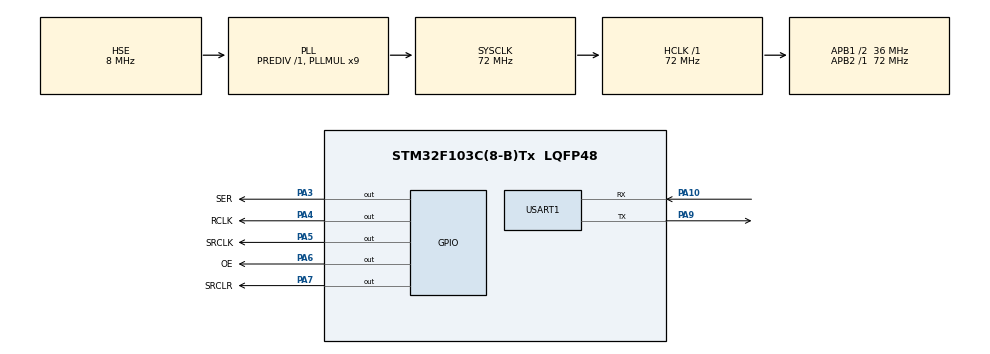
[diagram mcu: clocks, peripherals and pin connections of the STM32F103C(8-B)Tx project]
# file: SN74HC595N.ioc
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Mcu.Family=STM32F1
Mcu.Name=STM32F103C(8-B)Tx
Mcu.Package=LQFP48
NVIC.PriorityGroup=NVIC_PRIORITYGROUP_4
NVIC.USART1_IRQn=true\:0\:0\:false\:false\:true\:true\:true\:true
PA10.Mode=Asynchronous
PA10.Signal=USART1_RX
PA13.Mode=Serial_Wire
PA13.Signal=SYS_JTMS-SWDIO
PA14.Mode=Serial_Wire
PA14.Signal=SYS_JTCK-SWCLK
PA3.GPIO_Label=SER
PA3.Signal=GPIO_Output
PA4.GPIO_Label=RCLK
PA4.Signal=GPIO_Output
PA5.GPIO_Label=SRCLK
PA5.Signal=GPIO_Output
PA6.GPIO_Label=OE
PA6.PinState=GPIO_PIN_SET
PA6.Signal=GPIO_Output
PA7.GPIO_Label=SRCLR
PA7.PinState=GPIO_PIN_SET
PA7.Signal=GPIO_Output
PA9.Mode=Asynchronous
PA9.Signal=USART1_TX
PD0-OSC_IN.Mode=HSE-External-Oscillator
PD0-OSC_IN.Signal=RCC_OSC_IN
PD1-OSC_OUT.Mode=HSE-External-Oscillator
PD1-OSC_OUT.Signal=RCC_OSC_OUT
ProjectManager.HeapSize=0x200
ProjectManager.StackSize=0x400
ProjectManager.TargetToolchain=STM32CubeIDE
RCC.AHBFreq_Value=72000000
RCC.APB1CLKDivider=RCC_HCLK_DIV2
RCC.APB1Freq_Value=36000000
RCC.APB1TimFreq_Value=72000000
RCC.APB2Freq_Value=72000000
RCC.APB2TimFreq_Value=72000000
RCC.HCLKFreq_Value=72000000
RCC.PLLMUL=RCC_PLL_MUL9
RCC.PLLSourceVirtual=RCC_PLLSOURCE_HSE
RCC.SYSCLKFreq_VALUE=72000000
RCC.SYSCLKSource=RCC_SYSCLKSOURCE_PLLCLK
RCC.USBFreq_Value=72000000
USART1.VirtualMode=VM_ASYNC
board=custom

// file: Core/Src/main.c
/* USER CODE BEGIN Header */
/**
 ******************************************************************************
 * @file           : main.c
 * @brief          : Main program body
 ******************************************************************************
 * @attention
 *
 * Copyright (c) 2023 STMicroelectronics.
 * All rights reserved.
 *
 * This software is licensed under terms that can be found in the LICENSE file
 * in the root directory of this software component.
 * If no LICENSE file comes with this software, it is provided AS-IS.
 *
 ******************************************************************************
 */
/* USER CODE END Header */
#include "main.h"

/* USER CODE BEGIN Includes */
#include "uart.h"
/* USER CODE END Includes */

UART_HandleTypeDef huart1;

/* USER CODE BEGIN PV */
uint8_t buff[32];
extern ring_buffer_t uart_rx;
uint16_t number[10] = { 0b00000011, 0b10011111, 0b00100101, 0b00001101,
		0b10011001, 0b01001001, 0b01000001, 0b00011011, 0b00000001, 0b00001001 };
/* USER CODE END PV */

void SystemClock_Config(void);
static void MX_GPIO_Init(void);
static void MX_USART1_UART_Init(void);

int main(void) {
	/* USER CODE BEGIN 1 */
	int cnt=0;
	uint16_t data = 0;
	/* USER CODE END 1 */

	/* MCU Configuration--------------------------------------------------------*/

	/* Reset of all peripherals, Initializes the Flash interface and the Systick. */
	HAL_Init();

	/* Configure the system clock */
	SystemClock_Config();

	/* Initialize all configured peripherals */
	MX_GPIO_Init();
	MX_USART1_UART_Init();
	/* USER CODE BEGIN 2 */
	rxBufferInit(&uart_rx);

	/* Enable the UART Error Interrupt: (Frame error, noise error, overrun error) */
	__HAL_UART_ENABLE_IT(&huart1, UART_IT_ERR);

	/* Enable the UART Data Register not empty Interrupt */
	__HAL_UART_ENABLE_IT(&huart1, UART_IT_RXNE);
	/* USER CODE END 2 */

	/* Infinite loop */
	/* USER CODE BEGIN WHILE */
	while (1) {
		if(uart_available(&uart_rx)){
			uint8_t ch = pop(&uart_rx);
			if ((ch >= '0') && (ch <= '9')) {
							cnt = ch - '0';
						}
			HAL_UART_Transmit(&huart1, &ch, 1, 500);
		}

		data=number[cnt];

		HAL_GPIO_WritePin(GPIOA, SRCLR_Pin, GPIO_PIN_SET);
				HAL_GPIO_WritePin(OE_GPIO_Port, OE_Pin, GPIO_PIN_SET);

		for(int i=0;i<8;i++){
		if(data&(1<<i)){
			//SER_Pin,1
			HAL_GPIO_WritePin(GPIOA, SER_Pin, GPIO_PIN_SET);
		}else{
			//SER_Pin,0
			HAL_GPIO_WritePin(GPIOA, SER_Pin, GPIO_PIN_RESET);
		}
		HAL_GPIO_WritePin(GPIOA, SRCLK_Pin, GPIO_PIN_SET);
					HAL_GPIO_WritePin(GPIOA, SRCLK_Pin, GPIO_PIN_RESET);
		}

		HAL_GPIO_WritePin(GPIOA, RCLK_Pin, GPIO_PIN_SET);
				HAL_GPIO_WritePin(GPIOA, RCLK_Pin, GPIO_PIN_RESET);

				HAL_GPIO_WritePin(OE_GPIO_Port, OE_Pin, GPIO_PIN_RESET);
				HAL_GPIO_WritePin(GPIOA, SRCLR_Pin, GPIO_PIN_RESET);
		/* USER CODE END WHILE */

	}
}

void SystemClock_Config(void) {
	RCC_OscInitTypeDef RCC_OscInitStruct = { 0 };
	RCC_ClkInitTypeDef RCC_ClkInitStruct = { 0 };

	/** Initializes the RCC Oscillators according to the specified parameters
	 * in the RCC_OscInitTypeDef structure.
	 */
	RCC_OscInitStruct.OscillatorType = RCC_OSCILLATORTYPE_HSE;
	RCC_OscInitStruct.HSEState = RCC_HSE_ON;
	RCC_OscInitStruct.HSEPredivValue = RCC_HSE_PREDIV_DIV1;
	RCC_OscInitStruct.HSIState = RCC_HSI_ON;
	RCC_OscInitStruct.PLL.PLLState = RCC_PLL_ON;
	RCC_OscInitStruct.PLL.PLLSource = RCC_PLLSOURCE_HSE;
	RCC_OscInitStruct.PLL.PLLMUL = RCC_PLL_MUL9;
	if (HAL_RCC_OscConfig(&RCC_OscInitStruct) != HAL_OK) {
		Error_Handler();
	}

	/** Initializes the CPU, AHB and APB buses clocks
	 */
	RCC_ClkInitStruct.ClockType = RCC_CLOCKTYPE_HCLK | RCC_CLOCKTYPE_SYSCLK
			| RCC_CLOCKTYPE_PCLK1 | RCC_CLOCKTYPE_PCLK2;
	RCC_ClkInitStruct.SYSCLKSource = RCC_SYSCLKSOURCE_PLLCLK;
	RCC_ClkInitStruct.AHBCLKDivider = RCC_SYSCLK_DIV1;
	RCC_ClkInitStruct.APB1CLKDivider = RCC_HCLK_DIV2;
	RCC_ClkInitStruct.APB2CLKDivider = RCC_HCLK_DIV1;

	if (HAL_RCC_ClockConfig(&RCC_ClkInitStruct, FLASH_LATENCY_2) != HAL_OK) {
		Error_Handler();
	}
}

static void MX_USART1_UART_Init(void) {

	huart1.Instance = USART1;
	huart1.Init.BaudRate = 115200;
	huart1.Init.WordLength = UART_WORDLENGTH_8B;
	huart1.Init.StopBits = UART_STOPBITS_1;
	huart1.Init.Parity = UART_PARITY_NONE;
	huart1.Init.Mode = UART_MODE_TX_RX;
	huart1.Init.HwFlowCtl = UART_HWCONTROL_NONE;
	huart1.Init.OverSampling = UART_OVERSAMPLING_16;
	if (HAL_UART_Init(&huart1) != HAL_OK) {
		Error_Handler();
	}

}

static void MX_GPIO_Init(void) {
	GPIO_InitTypeDef GPIO_InitStruct = { 0 };

	/* GPIO Ports Clock Enable */
	__HAL_RCC_GPIOD_CLK_ENABLE();
	__HAL_RCC_GPIOA_CLK_ENABLE();

	/*Configure GPIO pin Output Level */
	HAL_GPIO_WritePin(GPIOA, SER_Pin | RCLK_Pin | SRCLK_Pin, GPIO_PIN_RESET);

	/*Configure GPIO pin Output Level */
	HAL_GPIO_WritePin(GPIOA, OE_Pin | SRCLR_Pin, GPIO_PIN_SET);

	/*Configure GPIO pins : SER_Pin RCLK_Pin SRCLK_Pin OE_Pin
	 SRCLR_Pin */
	GPIO_InitStruct.Pin = SER_Pin | RCLK_Pin | SRCLK_Pin | OE_Pin | SRCLR_Pin;
	GPIO_InitStruct.Mode = GPIO_MODE_OUTPUT_PP;
	GPIO_InitStruct.Pull = GPIO_NOPULL;
	GPIO_InitStruct.Speed = GPIO_SPEED_FREQ_LOW;
	HAL_GPIO_Init(GPIOA, &GPIO_InitStruct);

}

void Error_Handler(void) {
	__disable_irq();
	while (1) {
	}
}
